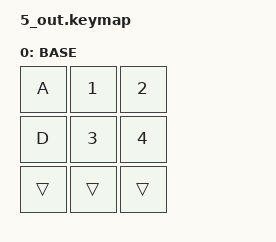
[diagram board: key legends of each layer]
/ {
    keymap {
        compatible = "zmk,keymap";

        // BEGIN keymap
        BASE {
            display-name = "BASE";
            bindings = <
&kp A &kp N1 &kp N2
&kp D &kp N3 &kp N4
&trans &trans &trans
            >;
        };
        // END keymap
    };
};

